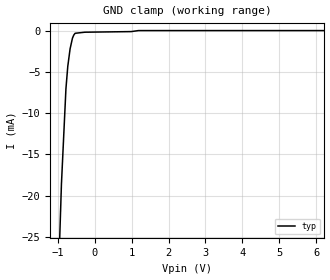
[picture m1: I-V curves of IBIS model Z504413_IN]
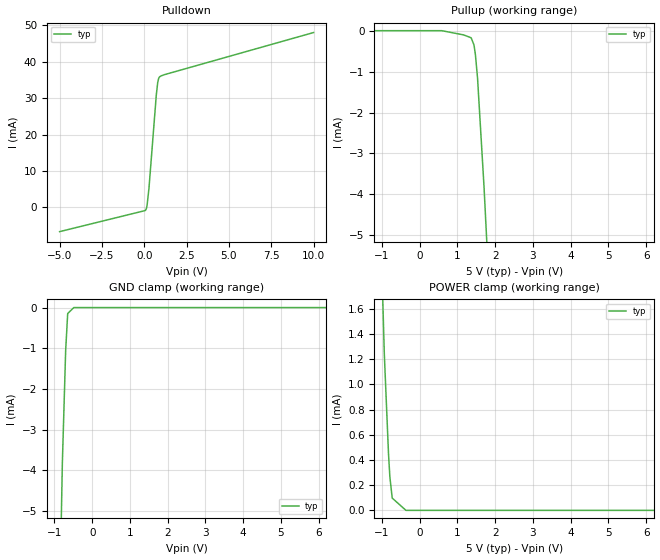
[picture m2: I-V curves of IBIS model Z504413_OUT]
| YOU ARE ONLY AUTHORIZED TO USE THIS SOFTWARE
| ACCORDING TO LICENSOR'S LICENSE RESTRICTIONS.
[IBIS Ver] 3.1
[File Name] sn54ls221j.ibs
[File Rev] 2.0
[Source] Measured and created by ICX Technology
[Date] Friday 7/14/00 9:08:14 AM
[Copyright]
| (C) COPYRIGHT 1993-2000
| MENTOR GRAPHICS CORPORATION
| ICX STANDARD LIBRARY, ICX PROJECT MODELING,
| ICX CUSTOM MODELING, ICX VENDOR MODEL
| ALL RIGHTS RESERVED.
| THE FOLLOWING ARE TRADEMARKS OR SERVICE MARKS OF
| MENTOR GRAPHICS CORPORATION:ICX (R), ICX STANDARD
| LIBRARY(R), ICX PROJECT MODELING(R), ICX CUSTOM
| MODELING(R), qualityIBIS(TM), MODELVIEWER(TM),
| AND MODELEDITOR(TM)
| ALL COPIES OF SOFTWARE, INCLUDING BUT NOT LIMITED TO
| ANY MODIFICATIONS, ENHANCEMENTS OR DERIVATIVE WORKS,
| MUST CONTAIN ALL MENTOR GRAPHICS CORPORATION'S
| NOTICES AND LEGENDS, INCLUDING THOSE EMBEDDED IN
| SOFTWARE AND THOSE AFFIXED TO SOFTWARE MEDIUM
| AND CONTAINER, AS RECEIVED FROM MENTOR GRAPHICS
| CORPORATION.
|  ZAP Model Builder 2.7
[Component] SN54LS221J
[Manufacturer] OnSemiconductor
[Package]
| variable   typ   min   max
R_pkg  .212ohms NA NA
L_pkg  4.758nH NA NA
C_pkg  1.944pF NA NA
[Pin] signal_name  model_name  R_pin  L_pin C_pin
1 A Z504413_IN .224 7.258n 2.683p
2 B Z504413_IN .216 5.258n 2.19p
3 _CLR Z504413_IN .208 3.758n 1.697p
4 _Q Z504413_OUT .2 2.758n 1.204p
5 Q Z504413_OUT .2 2.758n 1.204p
6 C_EXT NC .208 3.758n 1.697p
7 R_EXT_C_EXT NC .216 5.258n 2.19p
8 GND GND .224 7.258n 2.683p
9 A Z504413_IN .224 7.258n 2.683p
10 B Z504413_IN .216 5.258n 2.19p
11 _CLR Z504413_IN .208 3.758n 1.697p
12 _Q Z504413_OUT .2 2.758n 1.204p
13 Q Z504413_OUT .2 2.758n 1.204p
14 C_EXT NC .208 3.758n 1.697p
15 R_EXT_C_EXT NC .216 5.258n 2.19p
16 VCC POWER .224 7.258n 2.683p
| Models and submodels in the file (2): Z504413_IN (Input), Z504413_OUT (Output)
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| (C) COPYRIGHT 1993-2000
| MENTOR GRAPHICS CORPORATION
| ICX STANDARD LIBRARY, ICX PROJECT MODELING,
| ICX CUSTOM MODELING, ICX VENDOR MODEL
| ALL RIGHTS RESERVED.
| THE FOLLOWING ARE TRADEMARKS OR SERVICE MARKS OF
| MENTOR GRAPHICS CORPORATION:ICX (R), ICX STANDARD
| LIBRARY(R), ICX PROJECT MODELING(R), ICX CUSTOM
| MODELING(R), qualityIBIS(TM), MODELVIEWER(TM),
| AND MODELEDITOR(TM)
| ALL COPIES OF SOFTWARE, INCLUDING BUT NOT LIMITED TO
| ANY MODIFICATIONS, ENHANCEMENTS OR DERIVATIVE WORKS,
| MUST CONTAIN ALL MENTOR GRAPHICS CORPORATION'S
| NOTICES AND LEGENDS, INCLUDING THOSE EMBEDDED IN
| SOFTWARE AND THOSE AFFIXED TO SOFTWARE MEDIUM
| AND CONTAINER, AS RECEIVED FROM MENTOR GRAPHICS
| CORPORATION.
| Model Application Version 1.89 2/18/99.
[Model] Z504413_IN
Model_type Input
Vinl = 800.0mV
Vinh = 2.000V
C_comp 4.000pF NA NA
| variable typ   min   max
[Voltage Range] 5.000V NA NA
[GND Clamp Reference] 0.000V NA NA
[POWER Clamp Reference] 5.000V NA NA
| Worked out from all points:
|   GND clamp passes 1 mA (typ) near -0.60 V on its own axis
[GND Clamp]
-5V       -594.7mA   NA         NA
-898.3mV  -18.63mA   NA         NA
-776.4mV  -7.053mA   NA         NA
-726.4mV  -4.336mA   NA         NA
-664mV    -2.22mA    NA         NA
-600.3mV  -928.7uA   NA         NA
-564.7mV  -551.4uA   NA         NA
-527.3mV  -330.3uA   NA         NA
-263.7mV  -200.3uA   NA         NA
989.5mV   -125.6uA   NA         NA
1.187V    -2.726uA   NA         NA
10V       -2.726uA   NA         NA
[POWER Clamp]
-5V       0A         NA         NA
10V       0A         NA         NA
| (C) COPYRIGHT 1993-2000
| MENTOR GRAPHICS CORPORATION
| ICX STANDARD LIBRARY, ICX PROJECT MODELING,
| ICX CUSTOM MODELING, ICX VENDOR MODEL
| ALL RIGHTS RESERVED.
| THE FOLLOWING ARE TRADEMARKS OR SERVICE MARKS OF
| MENTOR GRAPHICS CORPORATION:ICX (R), ICX STANDARD
| LIBRARY(R), ICX PROJECT MODELING(R), ICX CUSTOM
| MODELING(R), qualityIBIS(TM), MODELVIEWER(TM),
| AND MODELEDITOR(TM)
| ALL COPIES OF SOFTWARE, INCLUDING BUT NOT LIMITED TO
| ANY MODIFICATIONS, ENHANCEMENTS OR DERIVATIVE WORKS,
| MUST CONTAIN ALL MENTOR GRAPHICS CORPORATION'S
| NOTICES AND LEGENDS, INCLUDING THOSE EMBEDDED IN
| SOFTWARE AND THOSE AFFIXED TO SOFTWARE MEDIUM
| AND CONTAINER, AS RECEIVED FROM MENTOR GRAPHICS
| CORPORATION.
| Model Application Version 1.89 2/18/99.
[Model] Z504413_OUT
Model_type Output
Vref=5.000V
Rref=2.000kohms
Cref=15.00pF
Vmeas=1.300V
C_comp 8.000pF NA NA
| variable typ   min   max
[Voltage Range] 5.000V NA NA
[POWER Clamp Reference] 5.000V NA NA
[Pullup Reference] 5.000V NA NA
[Pulldown Reference] 0.000V NA NA
[GND Clamp Reference] 0.000V NA NA
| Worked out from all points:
|   slope of the pulldown table from 0 to 0.75 V, typ, clamps not added: 22.5 ohm
|   slope of the pullup table from 0 to 0.75 V, typ, clamps not added: 25.5 kohm
|   GND clamp passes 1 mA (typ) near -0.70 V on its own axis
|   POWER clamp passes 1 mA (typ) near -0.90 V on its own axis
[GND Clamp]
-5V       -209.5mA   NA         NA
-790.9mV  -3.832mA   NA         NA
-702.9mV  -1.05mA    NA         NA
-649.3mV  -147.1uA   NA         NA
-487mV    0A         NA         NA
10V       0A         NA         NA
[Pulldown]
-5V       -6.625mA   NA         NA
58.33mV   -840.7uA   NA         NA
93.08mV   -632.2uA   NA         NA
134.3mV   -180.6uA   NA         NA
165.9mV   525.4uA    NA         NA
278.2mV   5.252mA    NA         NA
713mV     30.89mA    NA         NA
796.1mV   34.29mA    NA         NA
849.6mV   35.35mA    NA         NA
922.8mV   35.87mA    NA         NA
1.194V    36.41mA    NA         NA
10V       47.95mA    NA         NA
[Pullup]
-5V       8.706uA    NA         NA
586mV     8.706uA    NA         NA
1.162V    -94.47uA   NA         NA
1.362V    -165.2uA   NA         NA
1.438V    -340.7uA   NA         NA
1.475V    -574.5uA   NA         NA
1.533V    -1.166mA   NA         NA
1.704V    -3.821mA   NA         NA
10V       -157.1mA   NA         NA
[POWER Clamp]
-5V       43.78mA    NA         NA
-937mV    1.238mA    NA         NA
-826mV    446.6uA    NA         NA
-790mV    264.2uA    NA         NA
-728mV    97.29uA    NA         NA
-364mV    0A         NA         NA
10V       0A         NA         NA
[Ramp]
| variable typ min max
dV/dt_r 1.820/7.728n NA NA
dV/dt_f 1.820/3.718n NA NA
R_load = 500.0Ohms
